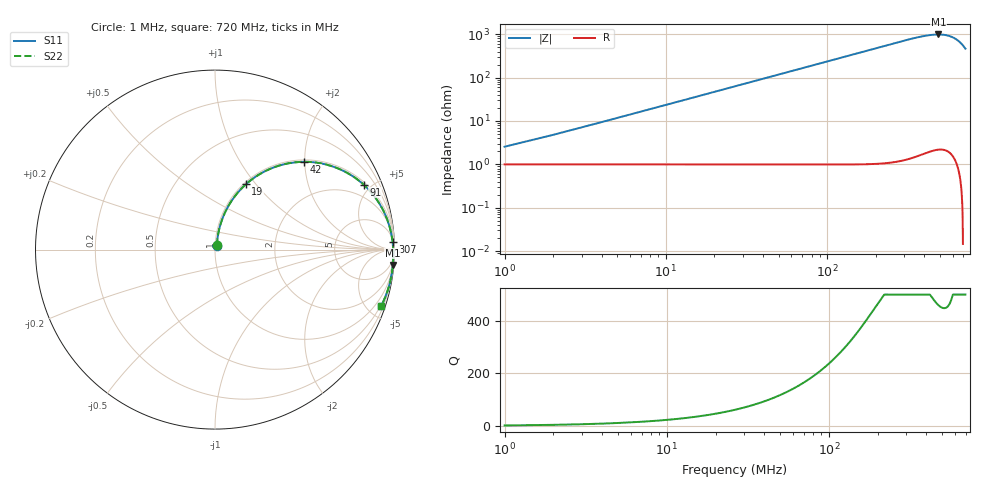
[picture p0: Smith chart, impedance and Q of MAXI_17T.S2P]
! Coilcraft 132-17SM_ Maxi Spring Air Core Inductor
! 28 May 2003
# MHZ S MA R 50
!Freq  MagS11  AngS11  MagS21  AngS21  MagS12  AngS12  MagS22  AngS22
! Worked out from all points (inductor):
!   720 points, 1 MHz to 720 MHz, reference 50 ohm
!   read as one part in series: L = 373 nH near 4 MHz
!   highest |Z| = 989 ohm at 490 MHz (marker M1)
!   S11 on the Smith chart (normalised r, x): 1 MHz: 1.02, +0.05; 19 MHz: 1.02, +0.89; 42 MHz: 1.04, +1.98; 91 MHz: 1.14, +4.50; 307 MHz: 11, +45; 720 MHz: 0.43, -6.00
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1  0.02511 65.4  0.9898 -1.3  0.9898 -1.3  0.02512 65.5
3  0.06979 77.9  0.9877 -4.0  0.9877 -4.0  0.0698 77.9
5  0.1151 78.4  0.9836 -6.7  0.9836 -6.7  0.1151 78.4
6  0.1375 77.9  0.9807 -8.0  0.9807 -8.0  0.1376 77.9
8  0.1819 76.3  0.9736 -10.6  0.9736 -10.6  0.1819 76.3
13  0.2876 71.2  0.9483 -16.9  0.9483 -16.9  0.2877 71.2
19  0.4018 64.7  0.9067 -24.0  0.9067 -24.0  0.4019 64.7
29  0.5565 54.9  0.8226 -34.3  0.8226 -34.3  0.5566 54.9
42  0.6964 44.6  0.7105 -44.8  0.7105 -44.8  0.6966 44.6
64  0.8286 32.6  0.5542 -57.0  0.5542 -57.0  0.8288 32.6
91  0.9035 23.6  0.4241 -66.1  0.4241 -66.1  0.9037 23.6
121  0.9421 17.4  0.3317 -72.4  0.3317 -72.4  0.9423 17.4
176  0.9716 10.6  0.2338 -79.2  0.2338 -79.2  0.9718 10.6
241  0.9846 5.8  0.1721 -84.1  0.1721 -84.1  0.9848 5.8
307  0.9903 2.4  0.1363 -87.5  0.1363 -87.5  0.9905 2.4
361  0.9926 0.1  0.118 -89.8  0.118 -89.8  0.9928 0.1
481  0.9944 -4.6  0.1008 -94.4  0.1008 -94.4  0.9946 -4.6
490  0.9944 -4.9  0.1007 -94.8  0.1007 -94.8  0.9946 -4.9
547  0.9939 -7.3  0.1042 -97.2  0.1042 -97.2  0.9942 -7.3
601  0.9925 -9.8  0.1163 -99.7  0.1163 -99.7  0.9927 -9.8
661  0.9883 -13.5  0.1458 -103.4  0.1458 -103.4  0.9886 -13.5
720  0.977 -18.8  0.2067 -108.9  0.2067 -108.9  0.9772 -18.8
